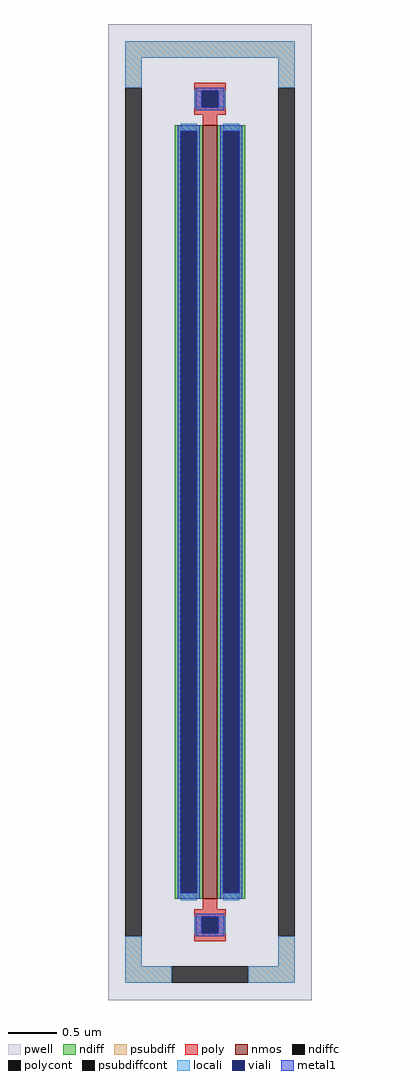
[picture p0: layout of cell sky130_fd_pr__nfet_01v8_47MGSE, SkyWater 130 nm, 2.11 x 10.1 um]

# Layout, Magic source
magic
tech sky130A
magscale 1 2
<< pwell >>
rect -211 -1010 211 1010
<< nmos >>
rect -15 -800 15 800
<< ndiff >>
rect -73 788 -15 800
rect -73 -788 -61 788
rect -27 -788 -15 788
rect -73 -800 -15 -788
rect 15 788 73 800
rect 15 -788 27 788
rect 61 -788 73 788
rect 15 -800 73 -788
<< ndiffc >>
rect -61 -788 -27 788
rect 27 -788 61 788
<< psubdiff >>
rect -175 940 175 974
rect -175 878 -141 940
rect 141 878 175 940
rect -175 -940 -141 -878
rect 141 -940 175 -878
rect -175 -974 -79 -940
rect 79 -974 175 -940
<< psubdiffcont >>
rect -175 -878 -141 878
rect 141 -878 175 878
rect -79 -974 79 -940
<< poly >>
rect -33 872 33 888
rect -33 838 -17 872
rect 17 838 33 872
rect -33 822 33 838
rect -15 800 15 822
rect -15 -822 15 -800
rect -33 -838 33 -822
rect -33 -872 -17 -838
rect 17 -872 33 -838
rect -33 -888 33 -872
<< polycont >>
rect -17 838 17 872
rect -17 -872 17 -838
<< locali >>
rect -175 940 175 974
rect -175 878 -141 940
rect 141 878 175 940
rect -33 838 -17 872
rect 17 838 33 872
rect -61 788 -27 804
rect -61 -804 -27 -788
rect 27 788 61 804
rect 27 -804 61 -788
rect -33 -872 -17 -838
rect 17 -872 33 -838
rect -175 -940 -141 -878
rect 141 -940 175 -878
rect -175 -974 -79 -940
rect 79 -974 175 -940
<< viali >>
rect -17 838 17 872
rect -61 -788 -27 788
rect 27 -788 61 788
rect -17 -872 17 -838
<< metal1 >>
rect -29 872 29 878
rect -29 838 -17 872
rect 17 838 29 872
rect -29 832 29 838
rect -67 788 -21 800
rect -67 -788 -61 788
rect -27 -788 -21 788
rect -67 -800 -21 -788
rect 21 788 67 800
rect 21 -788 27 788
rect 61 -788 67 788
rect 21 -800 67 -788
rect -29 -838 29 -832
rect -29 -872 -17 -838
rect 17 -872 29 -838
rect -29 -878 29 -872
<< properties >>
string FIXED_BBOX -158 -957 158 957
string gencell sky130_fd_pr__nfet_01v8
string library sky130
string parameters w 8 l 0.15 m 1 nf 1 diffcov 100 polycov 100 guard 1 glc 1 grc 1 gtc 0 gbc 1 tbcov 100 rlcov 100 topc 1 botc 0 poverlap 1 doverlap 1 lmin 0.15 wmin 0.42 compatible {sky130_fd_pr__nfet_01v8 sky130_fd_pr__nfet_01v8_lvt  sky130_fd_bs_flash__special_sonosfet_star  sky130_fd_pr__nfet_g5v0d10v5 sky130_fd_pr__nfet_05v0_nvt  sky130_fd_pr__nfet_03v3_nvt} full_metal 1 viasrc 100 viadrn 100 viagate 100 viagb 0 viagr 0 viagl 0 viagt 0
<< end >>
